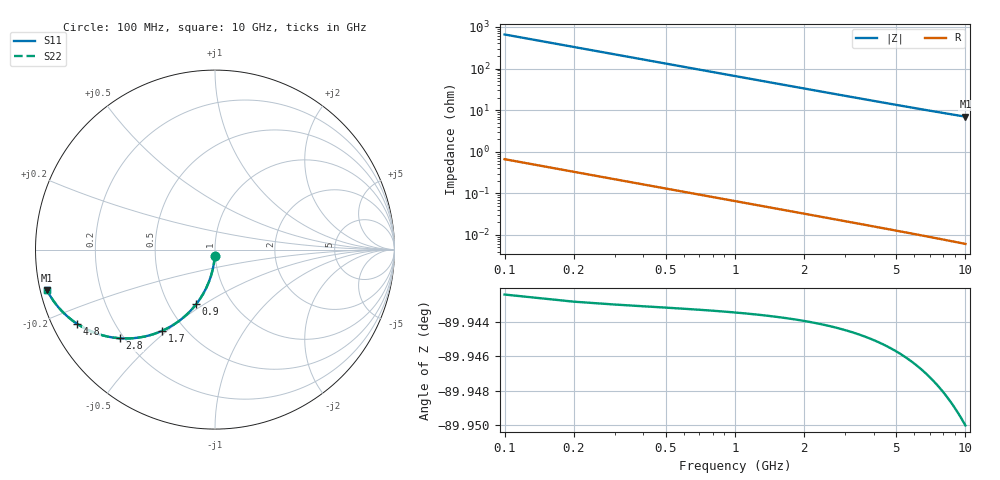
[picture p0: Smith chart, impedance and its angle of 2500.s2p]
# Hz S RI R 50.00
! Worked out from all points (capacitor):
!   100 points, 100 MHz to 10 GHz, reference 50 ohm
!   read as one part in shunt: C = 2.41 pF near 100 MHz
!   lowest |Z| = 6.98 ohm at 10 GHz (marker M1)
!   S11 on the Smith chart (normalised r, x): 100 MHz: 0.99, -0.08; 900 MHz: 0.68, -0.46; 1.7 GHz: 0.38, -0.48; 2.8 GHz: 0.18, -0.38; 4.8 GHz: 0.07, -0.25; 10 GHz: 0.02, -0.12
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1e8  -0.00145 -0.0377  0.9985 -0.038  0.9985 -0.038  -0.00145 -0.0377
2e8  -0.00577 -0.0751  0.9942 -0.0757  0.9942 -0.0757  -0.00577 -0.0751
3e8  -0.0129 -0.1118  0.9871 -0.1128  0.9871 -0.1128  -0.0129 -0.1118
4e8  -0.0226 -0.1476  0.9773 -0.1489  0.9773 -0.1489  -0.0226 -0.1476
5e8  -0.0348 -0.1822  0.9651 -0.1838  0.9651 -0.1838  -0.0348 -0.1822
6e8  -0.0494 -0.2153  0.9506 -0.2172  0.9506 -0.2172  -0.0494 -0.2153
7e8  -0.066 -0.2467  0.9339 -0.249  0.9339 -0.249  -0.066 -0.2467
9e8  -0.1045 -0.304  0.8955 -0.3069  0.8955 -0.3069  -0.1045 -0.304
1.1e9  -0.1483 -0.3531  0.8516 -0.3567  0.8516 -0.3567  -0.1483 -0.3531
1.3e9  -0.1955 -0.394  0.8044 -0.3982  0.8044 -0.3982  -0.1955 -0.394
1.7e9  -0.2933 -0.452  0.7067 -0.4576  0.7067 -0.4576  -0.2933 -0.452
1.8e9  -0.3175 -0.4621  0.6825 -0.4679  0.6825 -0.4679  -0.3175 -0.4621
2.3e9  -0.4313 -0.491  0.5686 -0.4985  0.5686 -0.4985  -0.4313 -0.491
2.8e9  -0.5289 -0.494  0.471 -0.5033  0.471 -0.5033  -0.5289 -0.494
3.4e9  -0.6231 -0.4784  0.3767 -0.4897  0.3767 -0.4897  -0.6231 -0.4784
4.1e9  -0.7061 -0.4482  0.2937 -0.4618  0.2937 -0.4618  -0.7061 -0.4482
4.8e9  -0.767 -0.4141  0.2328 -0.4302  0.2328 -0.4302  -0.767 -0.4141
5.1e9  -0.788 -0.3996  0.2118 -0.4167  0.2118 -0.4167  -0.788 -0.3996
5.8e9  -0.8279 -0.3671  0.1719 -0.3867  0.1719 -0.3867  -0.8279 -0.3671
6.7e9  -0.8653 -0.3293  0.1343 -0.3521  0.1343 -0.3521  -0.8653 -0.3293
8.4e9  -0.9103 -0.2704  0.0892 -0.2994  0.0892 -0.2994  -0.9103 -0.2704
1e10  -0.9353 -0.2273  0.064 -0.2623  0.064 -0.2623  -0.9353 -0.2273
